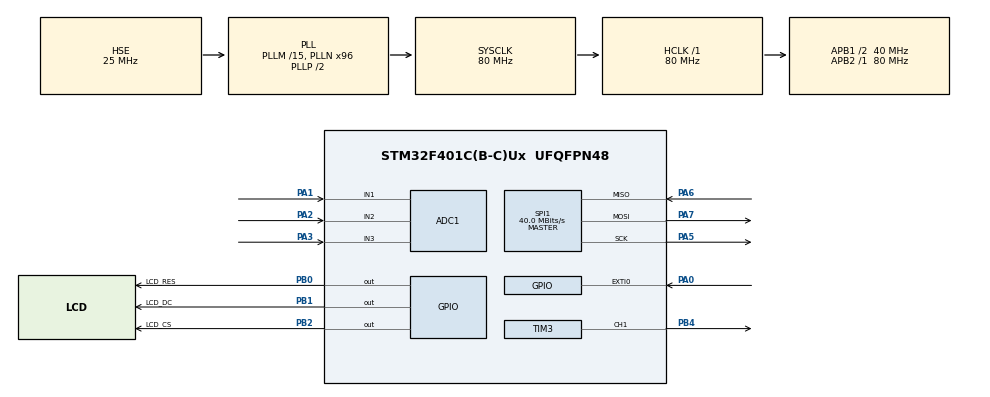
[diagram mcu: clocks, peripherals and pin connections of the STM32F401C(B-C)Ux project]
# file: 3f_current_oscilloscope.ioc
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ADC1.Channel-0\#ChannelRegularConversion=ADC_CHANNEL_1
ADC1.Channel-1\#ChannelRegularConversion=ADC_CHANNEL_2
ADC1.Channel-2\#ChannelRegularConversion=ADC_CHANNEL_3
ADC1.ClockPrescaler=ADC_CLOCK_SYNC_PCLK_DIV8
ADC1.ContinuousConvMode=DISABLE
ADC1.DMAContinuousRequests=ENABLE
ADC1.EOCSelection=ADC_EOC_SINGLE_CONV
ADC1.ExternalTrigConv=ADC_EXTERNALTRIGCONV_T3_TRGO
ADC1.NbrOfConversion=3
ADC1.NbrOfConversionFlag=1
ADC1.Rank-0\#ChannelRegularConversion=1
ADC1.Rank-1\#ChannelRegularConversion=2
ADC1.Rank-2\#ChannelRegularConversion=3
ADC1.SamplingTime-0\#ChannelRegularConversion=ADC_SAMPLETIME_56CYCLES
ADC1.SamplingTime-1\#ChannelRegularConversion=ADC_SAMPLETIME_56CYCLES
ADC1.SamplingTime-2\#ChannelRegularConversion=ADC_SAMPLETIME_56CYCLES
ADC1.ScanConvMode=ENABLE
ADC1.master=1
Dma.ADC1.1.Direction=DMA_PERIPH_TO_MEMORY
Dma.ADC1.1.FIFOMode=DMA_FIFOMODE_DISABLE
Dma.ADC1.1.Instance=DMA2_Stream0
Dma.ADC1.1.MemDataAlignment=DMA_MDATAALIGN_HALFWORD
Dma.ADC1.1.MemInc=DMA_MINC_ENABLE
Dma.ADC1.1.Mode=DMA_CIRCULAR
Dma.ADC1.1.PeriphDataAlignment=DMA_PDATAALIGN_HALFWORD
Dma.ADC1.1.PeriphInc=DMA_PINC_DISABLE
Dma.ADC1.1.Priority=DMA_PRIORITY_LOW
Dma.Request0=SPI1_TX
Dma.Request1=ADC1
Dma.SPI1_TX.0.Direction=DMA_MEMORY_TO_PERIPH
Dma.SPI1_TX.0.FIFOMode=DMA_FIFOMODE_DISABLE
Dma.SPI1_TX.0.Instance=DMA2_Stream3
Dma.SPI1_TX.0.MemDataAlignment=DMA_MDATAALIGN_BYTE
Dma.SPI1_TX.0.MemInc=DMA_MINC_ENABLE
Dma.SPI1_TX.0.Mode=DMA_NORMAL
Dma.SPI1_TX.0.PeriphDataAlignment=DMA_PDATAALIGN_BYTE
Dma.SPI1_TX.0.PeriphInc=DMA_PINC_DISABLE
Dma.SPI1_TX.0.Priority=DMA_PRIORITY_LOW
Mcu.Family=STM32F4
Mcu.Name=STM32F401C(B-C)Ux
Mcu.Package=UFQFPN48
NVIC.ADC_IRQn=true\:0\:0\:false\:false\:true\:true\:true\:true
NVIC.DMA2_Stream0_IRQn=true\:0\:0\:false\:false\:true\:false\:true\:true
NVIC.DMA2_Stream3_IRQn=true\:0\:0\:false\:false\:true\:false\:true\:true
NVIC.EXTI0_IRQn=true\:0\:0\:false\:false\:true\:true\:true\:true
NVIC.PriorityGroup=NVIC_PRIORITYGROUP_4
NVIC.TIM3_IRQn=true\:0\:0\:false\:false\:true\:true\:true\:true
NVIC.TIM5_IRQn=true\:15\:0\:false\:false\:true\:false\:true\:true
NVIC.TimeBase=TIM5_IRQn
NVIC.TimeBaseIP=TIM5
PA0-WKUP.GPIO_PuPd=GPIO_PULLUP
PA0-WKUP.Signal=GPXTI0
PA1.Signal=ADCx_IN1
PA13.Mode=Serial_Wire
PA13.Signal=SYS_JTMS-SWDIO
PA14.Mode=Serial_Wire
PA14.Signal=SYS_JTCK-SWCLK
PA2.Signal=ADCx_IN2
PA3.Signal=ADCx_IN3
PA5.Mode=Full_Duplex_Master
PA5.Signal=SPI1_SCK
PA6.Mode=Full_Duplex_Master
PA6.Signal=SPI1_MISO
PA7.Mode=Full_Duplex_Master
PA7.Signal=SPI1_MOSI
PB0.GPIO_Label=LCD_RES
PB0.Signal=GPIO_Output
PB1.GPIO_Label=LCD_DC
PB1.Signal=GPIO_Output
PB2.GPIO_Label=LCD_CS
PB2.Signal=GPIO_Output
PB4.Signal=S_TIM3_CH1
PH0\ -\ OSC_IN.Mode=HSE-External-Oscillator
PH0\ -\ OSC_IN.Signal=RCC_OSC_IN
PH1\ -\ OSC_OUT.Mode=HSE-External-Oscillator
PH1\ -\ OSC_OUT.Signal=RCC_OSC_OUT
ProjectManager.HeapSize=0x200
ProjectManager.StackSize=0x400
ProjectManager.TargetToolchain=STM32CubeIDE
RCC.48MHZClocksFreq_Value=40000000
RCC.AHBFreq_Value=80000000
RCC.APB1CLKDivider=RCC_HCLK_DIV2
RCC.APB1Freq_Value=40000000
RCC.APB1TimFreq_Value=80000000
RCC.APB2Freq_Value=80000000
RCC.APB2TimFreq_Value=80000000
RCC.CortexFreq_Value=80000000
RCC.HCLKFreq_Value=80000000
RCC.HSE_VALUE=25000000
RCC.HSI_VALUE=16000000
RCC.LSE_VALUE=32768
RCC.PLLM=15
RCC.PLLN=96
RCC.PLLSourceVirtual=RCC_PLLSOURCE_HSE
RCC.SYSCLKFreq_VALUE=80000000
RCC.SYSCLKSource=RCC_SYSCLKSOURCE_PLLCLK
RCC.VCOOutputFreq_Value=160000000
SH.ADCx_IN1.0=ADC1_IN1,IN1
SH.ADCx_IN2.0=ADC1_IN2,IN2
SH.ADCx_IN3.0=ADC1_IN3,IN3
SH.S_TIM3_CH1.0=TIM3_CH1,PWM Generation1 CH1
SPI1.BaudRatePrescaler=SPI_BAUDRATEPRESCALER_2
SPI1.CalculateBaudRate=40.0 MBits/s
SPI1.Direction=SPI_DIRECTION_2LINES
SPI1.Mode=SPI_MODE_MASTER
SPI1.VirtualType=VM_MASTER
TIM3.AutoReloadPreload=TIM_AUTORELOAD_PRELOAD_ENABLE
TIM3.Channel-PWM\ Generation1\ CH1=TIM_CHANNEL_1
TIM3.Period=1999
TIM3.Prescaler=79
TIM3.Pulse-PWM\ Generation1\ CH1=100
TIM3.TIM_MasterOutputTrigger=TIM_TRGO_UPDATE
VP_SYS_VS_tim5.Mode=TIM5
VP_TIM3_VS_ClockSourceINT.Mode=Internal
board=custom

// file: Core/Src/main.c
/* USER CODE BEGIN Header */
/**
  ******************************************************************************
  * @file           : main.c
  * @brief          : Main program body
  ******************************************************************************
  * @attention
  *
  * Copyright (c) 2023 STMicroelectronics.
  * All rights reserved.
  *
  * This software is licensed under terms that can be found in the LICENSE file
  * in the root directory of this software component.
  * If no LICENSE file comes with this software, it is provided AS-IS.
  *
  ******************************************************************************
  */
/* USER CODE END Header */
#include "main.h"

/* USER CODE BEGIN Includes */
#include "lcd.h"
#include "oscilloscope.h"
/* USER CODE END Includes */

 ADC_HandleTypeDef hadc1;
DMA_HandleTypeDef hdma_adc1;

SPI_HandleTypeDef hspi1;
DMA_HandleTypeDef hdma_spi1_tx;

TIM_HandleTypeDef htim3;

/* USER CODE BEGIN PV */
uint8_t aquisition_finished=0;
uint8_t button_int=0;
uint32_t button_int_time=0;
/* USER CODE END PV */

void SystemClock_Config(void);
static void MX_GPIO_Init(void);
static void MX_ADC1_Init(void);
static void MX_DMA_Init(void);
static void MX_SPI1_Init(void);
static void MX_TIM3_Init(void);
/* USER CODE BEGIN PFP */
void HAL_ADC_ConvCpltCallback(ADC_HandleTypeDef* hadc){
	aquisition_finished=1;
}
void HAL_GPIO_EXTI_Callback(uint16_t GPIO_Pin){
	button_int=1;
	button_int_time=HAL_GetTick();
}

/* USER CODE END PFP */

int main(void)
{

  /* MCU Configuration--------------------------------------------------------*/

  /* Reset of all peripherals, Initializes the Flash interface and the Systick. */
  HAL_Init();

  /* Configure the system clock */
  SystemClock_Config();

  /* Initialize all configured peripherals */
  MX_GPIO_Init();MX_DMA_Init();
  MX_ADC1_Init();

  MX_SPI1_Init();
  MX_TIM3_Init();
  /* USER CODE BEGIN 2 */
  LCD_init();
  LCD_Test();
  prepareBackground();

  /* USER CODE END 2 */

  /* Infinite loop */
  /* USER CODE BEGIN WHILE */
  while (1)
  {
	  if(aquisition_finished){drawBuffer();aquisition_finished=0;}
	  if(button_int && HAL_GetTick()-button_int_time>100){
		  button_int=0;
		  if(htim3.Instance->ARR>600){
		  htim3.Instance->ARR-=500;
		  }else{
			  htim3.Instance->ARR=3999;
			  drawVBaseUnits();
		  }
	  }
    /* USER CODE END WHILE */

  }
}

void SystemClock_Config(void)
{
  RCC_OscInitTypeDef RCC_OscInitStruct = {0};
  RCC_ClkInitTypeDef RCC_ClkInitStruct = {0};

  /** Configure the main internal regulator output voltage
  */
  __HAL_RCC_PWR_CLK_ENABLE();
  __HAL_PWR_VOLTAGESCALING_CONFIG(PWR_REGULATOR_VOLTAGE_SCALE2);

  /** Initializes the RCC Oscillators according to the specified parameters
  * in the RCC_OscInitTypeDef structure.
  */
  RCC_OscInitStruct.OscillatorType = RCC_OSCILLATORTYPE_HSE;
  RCC_OscInitStruct.HSEState = RCC_HSE_ON;
  RCC_OscInitStruct.PLL.PLLState = RCC_PLL_ON;
  RCC_OscInitStruct.PLL.PLLSource = RCC_PLLSOURCE_HSE;
  RCC_OscInitStruct.PLL.PLLM = 15;
  RCC_OscInitStruct.PLL.PLLN = 96;
  RCC_OscInitStruct.PLL.PLLP = RCC_PLLP_DIV2;
  RCC_OscInitStruct.PLL.PLLQ = 4;
  if (HAL_RCC_OscConfig(&RCC_OscInitStruct) != HAL_OK)
  {
    Error_Handler();
  }

  /** Initializes the CPU, AHB and APB buses clocks
  */
  RCC_ClkInitStruct.ClockType = RCC_CLOCKTYPE_HCLK|RCC_CLOCKTYPE_SYSCLK
                              |RCC_CLOCKTYPE_PCLK1|RCC_CLOCKTYPE_PCLK2;
  RCC_ClkInitStruct.SYSCLKSource = RCC_SYSCLKSOURCE_PLLCLK;
  RCC_ClkInitStruct.AHBCLKDivider = RCC_SYSCLK_DIV1;
  RCC_ClkInitStruct.APB1CLKDivider = RCC_HCLK_DIV2;
  RCC_ClkInitStruct.APB2CLKDivider = RCC_HCLK_DIV1;

  if (HAL_RCC_ClockConfig(&RCC_ClkInitStruct, FLASH_LATENCY_2) != HAL_OK)
  {
    Error_Handler();
  }
}

static void MX_ADC1_Init(void)
{

  ADC_ChannelConfTypeDef sConfig = {0};

  /** Configure the global features of the ADC (Clock, Resolution, Data Alignment and number of conversion)
  */
  hadc1.Instance = ADC1;
  hadc1.Init.ClockPrescaler = ADC_CLOCK_SYNC_PCLK_DIV8;
  hadc1.Init.Resolution = ADC_RESOLUTION_12B;
  hadc1.Init.ScanConvMode = ENABLE;
  hadc1.Init.ContinuousConvMode = DISABLE;
  hadc1.Init.DiscontinuousConvMode = DISABLE;
  hadc1.Init.ExternalTrigConvEdge = ADC_EXTERNALTRIGCONVEDGE_RISING;
  hadc1.Init.ExternalTrigConv = ADC_EXTERNALTRIGCONV_T3_TRGO;
  hadc1.Init.DataAlign = ADC_DATAALIGN_RIGHT;
  hadc1.Init.NbrOfConversion = 3;
  hadc1.Init.DMAContinuousRequests = ENABLE;
  hadc1.Init.EOCSelection = ADC_EOC_SINGLE_CONV;
  if (HAL_ADC_Init(&hadc1) != HAL_OK)
  {
    Error_Handler();
  }

  /** Configure for the selected ADC regular channel its corresponding rank in the sequencer and its sample time.
  */
  sConfig.Channel = ADC_CHANNEL_1;
  sConfig.Rank = 1;
  sConfig.SamplingTime = ADC_SAMPLETIME_56CYCLES;
  if (HAL_ADC_ConfigChannel(&hadc1, &sConfig) != HAL_OK)
  {
    Error_Handler();
  }

  /** Configure for the selected ADC regular channel its corresponding rank in the sequencer and its sample time.
  */
  sConfig.Channel = ADC_CHANNEL_2;
  sConfig.Rank = 2;
  if (HAL_ADC_ConfigChannel(&hadc1, &sConfig) != HAL_OK)
  {
    Error_Handler();
  }

  /** Configure for the selected ADC regular channel its corresponding rank in the sequencer and its sample time.
  */
  sConfig.Channel = ADC_CHANNEL_3;
  sConfig.Rank = 3;
  if (HAL_ADC_ConfigChannel(&hadc1, &sConfig) != HAL_OK)
  {
    Error_Handler();
  }

}

static void MX_SPI1_Init(void)
{

  /* SPI1 parameter configuration*/
  hspi1.Instance = SPI1;
  hspi1.Init.Mode = SPI_MODE_MASTER;
  hspi1.Init.Direction = SPI_DIRECTION_2LINES;
  hspi1.Init.DataSize = SPI_DATASIZE_8BIT;
  hspi1.Init.CLKPolarity = SPI_POLARITY_LOW;
  hspi1.Init.CLKPhase = SPI_PHASE_1EDGE;
  hspi1.Init.NSS = SPI_NSS_SOFT;
  hspi1.Init.BaudRatePrescaler = SPI_BAUDRATEPRESCALER_2;
  hspi1.Init.FirstBit = SPI_FIRSTBIT_MSB;
  hspi1.Init.TIMode = SPI_TIMODE_DISABLE;
  hspi1.Init.CRCCalculation = SPI_CRCCALCULATION_DISABLE;
  hspi1.Init.CRCPolynomial = 10;
  if (HAL_SPI_Init(&hspi1) != HAL_OK)
  {
    Error_Handler();
  }

}

static void MX_TIM3_Init(void)
{

  TIM_ClockConfigTypeDef sClockSourceConfig = {0};
  TIM_MasterConfigTypeDef sMasterConfig = {0};
  TIM_OC_InitTypeDef sConfigOC = {0};

  htim3.Instance = TIM3;
  htim3.Init.Prescaler = 79;
  htim3.Init.CounterMode = TIM_COUNTERMODE_UP;
  htim3.Init.Period = 1999;
  htim3.Init.ClockDivision = TIM_CLOCKDIVISION_DIV1;
  htim3.Init.AutoReloadPreload = TIM_AUTORELOAD_PRELOAD_ENABLE;
  if (HAL_TIM_Base_Init(&htim3) != HAL_OK)
  {
    Error_Handler();
  }
  sClockSourceConfig.ClockSource = TIM_CLOCKSOURCE_INTERNAL;
  if (HAL_TIM_ConfigClockSource(&htim3, &sClockSourceConfig) != HAL_OK)
  {
    Error_Handler();
  }
  if (HAL_TIM_PWM_Init(&htim3) != HAL_OK)
  {
    Error_Handler();
  }
  sMasterConfig.MasterOutputTrigger = TIM_TRGO_UPDATE;
  sMasterConfig.MasterSlaveMode = TIM_MASTERSLAVEMODE_DISABLE;
  if (HAL_TIMEx_MasterConfigSynchronization(&htim3, &sMasterConfig) != HAL_OK)
  {
    Error_Handler();
  }
  sConfigOC.OCMode = TIM_OCMODE_PWM1;
  sConfigOC.Pulse = 100;
  sConfigOC.OCPolarity = TIM_OCPOLARITY_HIGH;
  sConfigOC.OCFastMode = TIM_OCFAST_DISABLE;
  if (HAL_TIM_PWM_ConfigChannel(&htim3, &sConfigOC, TIM_CHANNEL_1) != HAL_OK)
  {
    Error_Handler();
  }
  HAL_TIM_MspPostInit(&htim3);

}

static void MX_DMA_Init(void)
{

  /* DMA controller clock enable */
  __HAL_RCC_DMA2_CLK_ENABLE();

  /* DMA interrupt init */
  /* DMA2_Stream0_IRQn interrupt configuration */
  HAL_NVIC_SetPriority(DMA2_Stream0_IRQn, 0, 0);
  HAL_NVIC_EnableIRQ(DMA2_Stream0_IRQn);
  /* DMA2_Stream3_IRQn interrupt configuration */
  HAL_NVIC_SetPriority(DMA2_Stream3_IRQn, 0, 0);
  HAL_NVIC_EnableIRQ(DMA2_Stream3_IRQn);

}

static void MX_GPIO_Init(void)
{
  GPIO_InitTypeDef GPIO_InitStruct = {0};

  /* GPIO Ports Clock Enable */
  __HAL_RCC_GPIOH_CLK_ENABLE();
  __HAL_RCC_GPIOA_CLK_ENABLE();
  __HAL_RCC_GPIOB_CLK_ENABLE();

  /*Configure GPIO pin Output Level */
  HAL_GPIO_WritePin(GPIOB, LCD_RES_Pin|LCD_DC_Pin|LCD_CS_Pin, GPIO_PIN_RESET);

  /*Configure GPIO pin : PA0 */
  GPIO_InitStruct.Pin = GPIO_PIN_0;
  GPIO_InitStruct.Mode = GPIO_MODE_IT_RISING;
  GPIO_InitStruct.Pull = GPIO_PULLUP;
  HAL_GPIO_Init(GPIOA, &GPIO_InitStruct);

  /*Configure GPIO pins : LCD_RES_Pin LCD_DC_Pin LCD_CS_Pin */
  GPIO_InitStruct.Pin = LCD_RES_Pin|LCD_DC_Pin|LCD_CS_Pin;
  GPIO_InitStruct.Mode = GPIO_MODE_OUTPUT_PP;
  GPIO_InitStruct.Pull = GPIO_NOPULL;
  GPIO_InitStruct.Speed = GPIO_SPEED_FREQ_LOW;
  HAL_GPIO_Init(GPIOB, &GPIO_InitStruct);

  /* EXTI interrupt init*/
  HAL_NVIC_SetPriority(EXTI0_IRQn, 0, 0);
  HAL_NVIC_EnableIRQ(EXTI0_IRQn);

}

void HAL_TIM_PeriodElapsedCallback(TIM_HandleTypeDef *htim)
{
  if (htim->Instance == TIM5) {
    HAL_IncTick();
  }
}

void Error_Handler(void)
{
  __disable_irq();
  while (1)
  {
  }
}
